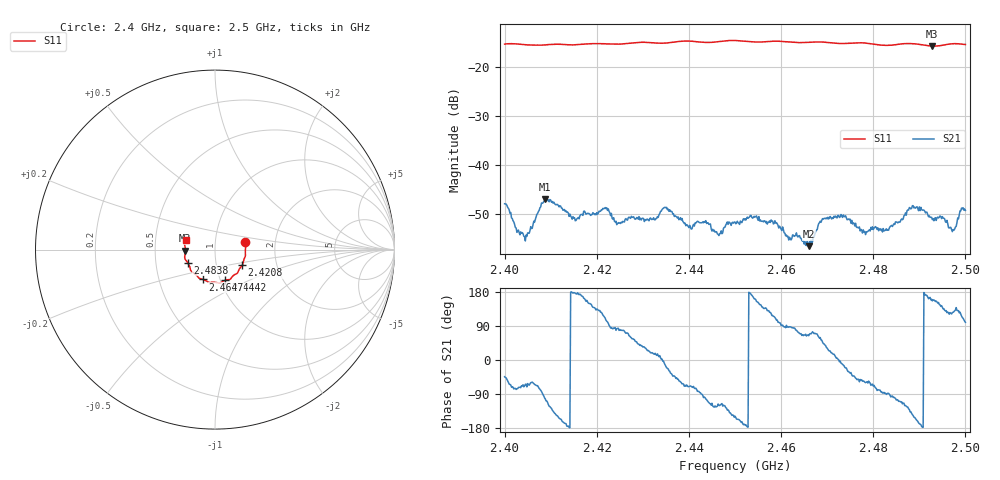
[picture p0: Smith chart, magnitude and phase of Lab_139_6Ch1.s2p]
# Hz S RI R 50
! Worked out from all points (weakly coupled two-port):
!   601 points, 2.4 GHz to 2.5 GHz, reference 50 ohm
!   highest |S21| = -47.04 dB at 2.4088 GHz (marker M1); lowest = -56.6 dB at 2.466 GHz (marker M2)
!   lowest |S11| = -15.6 dB at 2.4928 GHz (marker M3), VSWR 1.40, Z = 35.8 - j0.384 ohm
!   |S11| at or under -10 dB: start of sweep to end of sweep
!   S12 and S22 are empty: the file has one direction only
!   S11 on the Smith chart (normalised r, x): 2.4 GHz: 1.40, +0.12; 2.4208 GHz: 1.33, -0.24; 2.4442 GHz: 1.05, -0.37; 2.4647 GHz: 0.83, -0.29; 2.4838 GHz: 0.73, -0.11; 2.5 GHz: 0.72, +0.08
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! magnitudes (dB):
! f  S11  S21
! 2.4 GHz  -15.2  -47.9
! 2.4047 GHz  -15.4  -54.3
! 2.4088 GHz  -15.4  -47.0
! 2.4167 GHz  -15.3  -50.1
! 2.4208 GHz  -15.1  -49.4
! 2.4248 GHz  -15.2  -51.9
! 2.4333 GHz  -15.0  -50.7
! 2.4442 GHz  -14.9  -51.8
! 2.4467 GHz  -14.7  -54.0
! 2.45 GHz  -14.5  -51.7
! 2.4547 GHz  -14.8  -50.4
! 2.4647 GHz  -14.9  -55.6
! 2.466 GHz  -14.9  -56.6
! 2.4667 GHz  -14.8  -56.0
! 2.4687 GHz  -14.8  -51.7
! 2.472 GHz  -15.1  -50.8
! 2.4833 GHz  -15.5  -53.3
! 2.4838 GHz  -15.5  -52.5
! 2.4883 GHz  -15.1  -48.8
! 2.4928 GHz  -15.6  -51.2
! 2.4975 GHz  -15.1  -53.4
! 2.5 GHz  -15.3  -49.3
